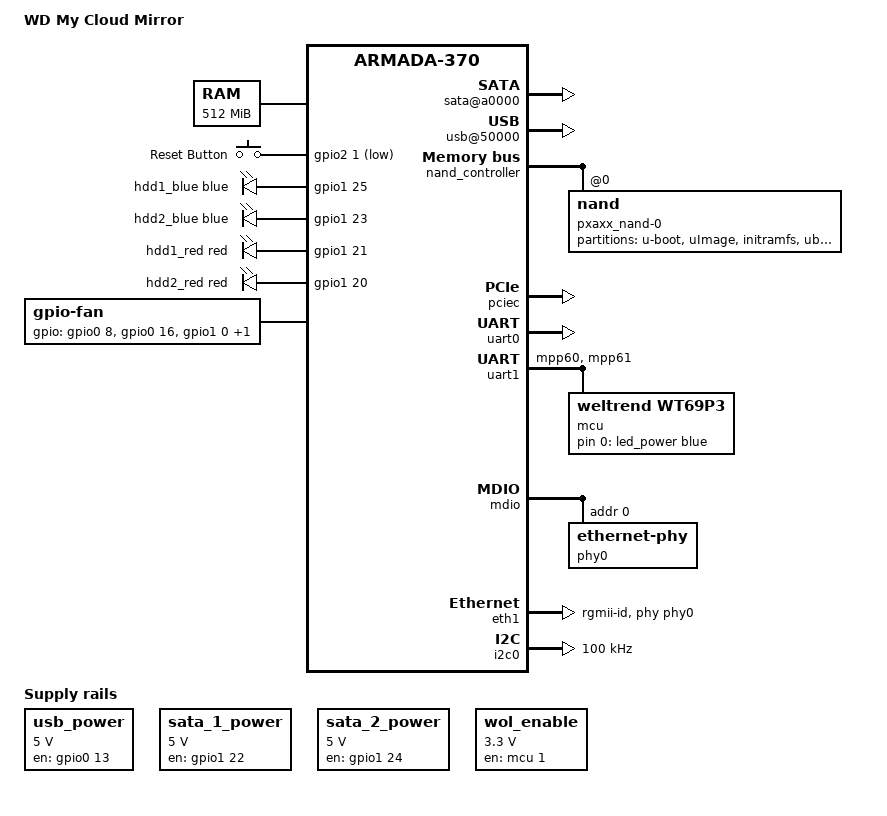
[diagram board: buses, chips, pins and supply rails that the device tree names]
// SPDX-License-Identifier: (GPL-2.0)
/*
 * Device Tree file for WD MyCloud Mirror
 * Based on DB-88F6710-BP-DDR3
 *
 *  Copyright (C) 2026
 *
 * Lior Amsalem <alior@marvell.com>
 * Gregory CLEMENT <gregory.clement@free-electrons.com>
 * Thomas Petazzoni <thomas.petazzoni@free-electrons.com>
 * Allester Fox <fox.axon@gmail.com>
 * Lutz Müller <lm@topfrose.de>
 *
 */

/dts-v1/;
#include <dt-bindings/input/input.h>
#include <dt-bindings/gpio/gpio.h>
#include <dt-bindings/leds/common.h>
#include "armada-370.dtsi"

/ {
	model = "WD My Cloud Mirror";
	compatible = "wd,cloud-mirror-gen1", "marvell,a370-db", "marvell,armada370", "marvell,armada-370-xp";

	chosen {
		stdout-path = "serial0:115200n8";
	};

	aliases {
		led-boot = &led_power;
		led-failsafe = &led_power;
		led-running = &led_power;
		led-upgrade = &led_power;
		reset = &reset_button;
	};

	memory@0 {
		device_type = "memory";
		reg = <0x00000000 0x20000000>; /* 512 MiB */
	};

	soc {
		ranges = <MBUS_ID(0xf0, 0x01) 0 0xf1000000 0x100000
			MBUS_ID(0x01, 0xe0) 0 0xfff00000 0x100000
			MBUS_ID(0x09, 0x01) 0 0xf1100000 0x10000>;

		internal-regs {
			sata@a0000 {
				nr-ports = <2>;
				status = "okay";
			};

			usb@50000 {
				status = "okay";
			};

			nand_controller: nand-controller@d0000 {
				status = "okay";

				nand: nand@0 {
					reg = <0>;
					label = "pxaxx_nand-0";
					nand-rb = <0>;
					marvell,nand-keep-config;
					nand-on-flash-bbt;
					nand-ecc-strength = <4>;
					nand-ecc-step-size = <512>;

					partitions {
						compatible = "fixed-partitions";
						#address-cells = <1>;
						#size-cells = <1>;

						partition@0 {
							label = "u-boot";
							reg = <0x00000000 0x00500000>;
							read-only;
						};
						partition@500000 {
							label = "uImage";
							reg = <0x00500000 0x00500000>;
						};
						partition@a00000 {
							label = "initramfs";
							reg = <0x00A00000 0x00500000>;
						};
						partition@f00000 {
							label = "ubi";
							reg = <0x00f00000 0x0c900000>;
						};
						partition@dd00000 {
							label = "rescue";
							reg = <0x0dd00000 0x00f00000>;
						};
						partition@ec00000 {
							label = "config";
							reg = <0x0ec00000 0x01400000>;
						};
						partition@d800000 {
							label = "reserved";
							reg = <0x0d800000 0x00500000>;
						};
					};
				};
			};
		};
	};

	gpio-keys {
		compatible = "gpio-keys";
		pinctrl-0 = <&reset_button_pin>;
		pinctrl-names = "default";

		reset_button: reset-button {
			label = "Reset Button";
			linux,code = <KEY_RESTART>;
			gpios = <&gpio2 1 GPIO_ACTIVE_LOW>;
		};
	};

	gpio-leds {
		compatible = "gpio-leds";
		pinctrl-names = "default";
		pinctrl-0 = <&led_pins>;

		hdd1_blue: hdd1-blue {
			function = LED_FUNCTION_DISK;
			function-enumerator = <0>;
			color = <LED_COLOR_ID_BLUE>;
			gpios = <&gpio1 25 GPIO_ACTIVE_HIGH>;	// gpio57
			default-state = "keep";
		};
		hdd2_blue: hdd2-blue {
			function = LED_FUNCTION_DISK;
			function-enumerator = <1>;
			color = <LED_COLOR_ID_BLUE>;
			gpios = <&gpio1 23 GPIO_ACTIVE_HIGH>;	// gpio55
			default-state = "keep";
		};
		hdd1_red: hdd1-red {
			function = LED_FUNCTION_DISK;
			function-enumerator = <0>;
			color = <LED_COLOR_ID_RED>;
			gpios = <&gpio1 21 GPIO_ACTIVE_HIGH>;	// gpio53
			default-state = "keep";
		};
		hdd2_red: hdd2-red {
			function = LED_FUNCTION_DISK;
			function-enumerator = <1>;
			color = <LED_COLOR_ID_RED>;
			gpios = <&gpio1 20 GPIO_ACTIVE_HIGH>;	// gpio52
			default-state = "keep";
		};

		led_power: led-power {
			function = LED_FUNCTION_POWER;
			color = <LED_COLOR_ID_BLUE>;
			gpios = <&mcu 0 GPIO_ACTIVE_HIGH>;
			default-state = "on";
		};
	};

	gpio-fan {
		status = "okay";
		compatible = "gpio-fan";
		pinctrl-names = "default";
		pinctrl-0 = <&fan_pins>;
		#cooling-cells = <2>;

		gpios = <&gpio0 8 GPIO_ACTIVE_HIGH
				&gpio0 16 GPIO_ACTIVE_HIGH
				&gpio1 0 GPIO_ACTIVE_HIGH
				&gpio0 6 GPIO_ACTIVE_HIGH>;
		gpio-fan,speed-map = < 0 0
			 1500 1
			 1700 2
			 1800 3
			 2100 4>;
	};

	regulators {
		compatible = "simple-bus";
		#address-cells = <1>;
		#size-cells = <0>;

		usb_power: regulator@1 {
			compatible = "regulator-fixed";
			reg = <1>;
			pinctrl-0 = <&xhci_pwr_pin>;
			pinctrl-names = "default";
			regulator-name = "USB3.0 Port Power";
			regulator-min-microvolt = <5000000>;
			regulator-max-microvolt = <5000000>;
			enable-active-high;
			regulator-boot-on;
			regulator-always-on;
			gpio = <&gpio0 13 GPIO_ACTIVE_HIGH>;
		};

		sata_1_power: regulator@2 {
			compatible = "regulator-fixed";
			reg = <2>;
			pinctrl-0 = <&sata_1_pwr_pin>;
			pinctrl-names = "default";
			regulator-name = "SATA-1 Power";
			regulator-min-microvolt = <5000000>;
			regulator-max-microvolt = <5000000>;
			startup-delay-us = <2000000>;
			enable-active-high;
			regulator-always-on;
			regulator-boot-on;
			gpio = <&gpio1 22 GPIO_ACTIVE_HIGH>;
		};

		sata_2_power: regulator@3 {
			compatible = "regulator-fixed";
			reg = <3>;
			pinctrl-0 = <&sata_2_pwr_pin>;
			pinctrl-names = "default";
			regulator-name = "SATA-2 Power";
			regulator-min-microvolt = <5000000>;
			regulator-max-microvolt = <5000000>;
			startup-delay-us = <4000000>;
			enable-active-high;
			regulator-always-on;
			regulator-boot-on;
			gpio = <&gpio1 24 GPIO_ACTIVE_HIGH>;
		};

		wol_enable: regulator@4 {
			compatible = "regulator-fixed";
			reg = <4>;
			regulator-name = "Wake-on-LAN";
			regulator-min-microvolt = <3300000>;
			regulator-max-microvolt = <3300000>;
			enable-active-high;
			regulator-always-on;
			regulator-boot-on;
			gpio = <&mcu 1 GPIO_ACTIVE_HIGH>;
		};
	};
};

&pciec {
	status = "okay";

	pcie@1,0 {
		/* Port 0, Lane 0 */
		status = "okay";
	};

	pcie@2,0 {
		/* Port 1, Lane 0 */
		status = "okay";
	};
};

&pinctrl {
	led_pins: led-pins {
		// HDD2-Red, HDD1-Red, HDD1-Blue, HDD2-Blue
		marvell,pins = "mpp52", "mpp53", "mpp57", "mpp55";
		marvell,function = "gpio";
	};

	fan_pins: fan-pins {
		marvell,pins = "mpp6", "mpp8", "mpp16", "mpp32";
		marvell,function = "gpio";
	};

	xhci_pwr_pin: xhci-pwr-pin {
		marvell,pins = "mpp13";
		marvell,function = "gpio";
	};

	sata_1_pwr_pin: sata-1-pwr-pin {
		marvell,pins = "mpp54";
		marvell,function = "gpo";
	};

	sata_2_pwr_pin: sata-2-pwr-pin {
		marvell,pins = "mpp56";
		marvell,function = "gpio";
	};

	uart1_pins: uart1-pins {
		marvell,pins = "mpp60", "mpp61";
		marvell,function = "uart1";
	};

	reset_button_pin: reset-button-pin {
		marvell,pins = "mpp64";
		marvell,function = "gpio";
	};
};

/* Serial console */
&uart0 {
	status = "okay";
};

/* Connected to Weltrend MCU */
&uart1 {
	pinctrl-0 = <&uart1_pins>;
	pinctrl-names = "default";
	status = "okay";

	mcu: mcu {
		compatible = "weltrend,wt69p3";
		gpio-controller;
		#gpio-cells = <2>;
	};
};

&mdio {
	phy0: ethernet-phy@0 { /* Marvell 88E1318 */
		reg = <0>;
	};
};

&eth1 {
	phy = <&phy0>;
	phy-mode = "rgmii-id";
	status = "okay";
};

&i2c0 {
	clock-frequency = <100000>;
	status = "okay";
};
